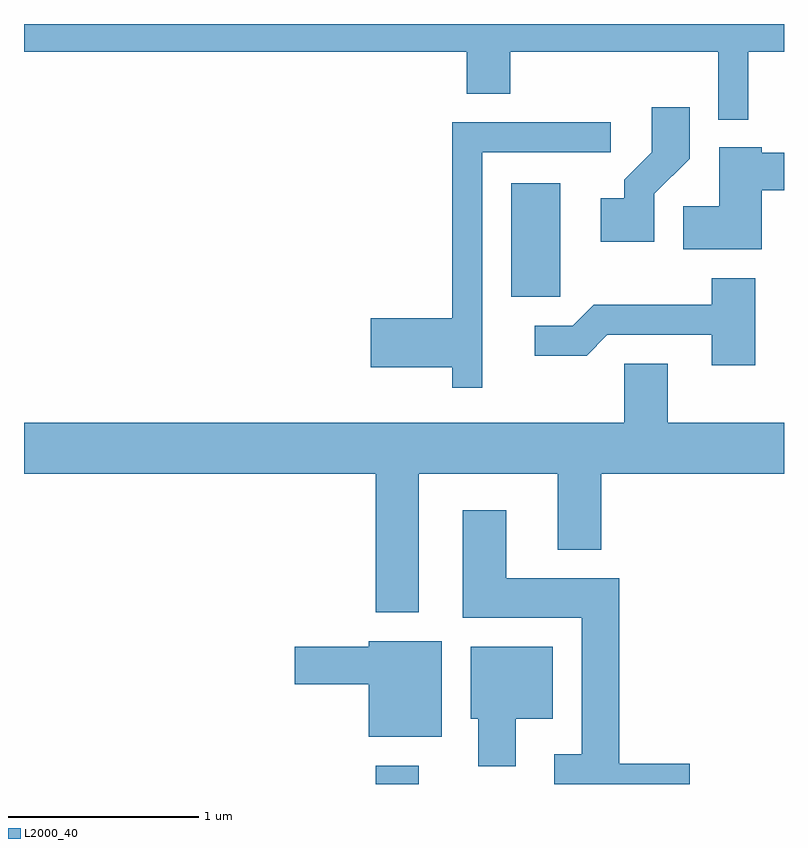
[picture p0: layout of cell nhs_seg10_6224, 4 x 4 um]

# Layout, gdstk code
import gdstk
lib = gdstk.Library(unit=1e-6, precision=1e-09)
def R(c, l, rs):  # rectangles x0, y0, x1, y1
    for r in rs: c.add(gdstk.rectangle(r[:2], r[2:], *l))
def P(c, l, *ps):  # polygons
    for p in ps: c.add(gdstk.Polygon(p, *l))
L2000_40 = (2000, 40)

nhs_seg10_6224 = lib.new_cell('nhs_seg10_6224')
R(nhs_seg10_6224, L2000_40, [(371.461,2094.522,371.689,2094.619), (372.176,2097.086,372.434,2097.684)])
P(nhs_seg10_6224, L2000_40, [(373.424,2098.376),(373.611,2098.376),(373.611,2098.522),(369.611,2098.522),(369.611,2098.376),(371.941,2098.376),(371.941,2098.156),(372.169,2098.156),(372.169,2098.376),(373.266,2098.376),(373.266,2098.018),(373.424,2098.018)],
  [(372.929,2097.629),(373.114,2097.814),(373.114,2098.084),(372.916,2098.084),(372.916,2097.847),(372.771,2097.702),(372.771,2097.604),(372.646,2097.604),(372.646,2097.376),(372.929,2097.376)],
  [(372.024,2097.846),(372.698,2097.846),(372.698,2098.004),(371.866,2098.004),(371.866,2096.974),(371.436,2096.974),(371.436,2096.716),(371.866,2096.716),(371.866,2096.608),(372.024,2096.608)],
  [(373.494,2097.646),(373.611,2097.646),(373.611,2097.844),(373.494,2097.844),(373.494,2097.874),(373.271,2097.874),(373.271,2097.564),(373.081,2097.564),(373.081,2097.336),(373.494,2097.336)],
  [(373.459,2097.184),(373.231,2097.184),(373.231,2097.044),(372.609,2097.044),(372.499,2096.934),(372.298,2096.934),(372.298,2096.776),(372.572,2096.776),(372.682,2096.886),(373.231,2096.886),(373.231,2096.726),(373.459,2096.726)],
  [(371.689,2096.156),(372.421,2096.156),(372.421,2095.756),(372.649,2095.756),(372.649,2096.156),(373.611,2096.156),(373.611,2096.424),(372.999,2096.424),(372.999,2096.734),(372.771,2096.734),(372.771,2096.424),(369.611,2096.424),(369.611,2096.156),(371.461,2096.156),(371.461,2095.426),(371.689,2095.426)],
  [(373.114,2094.629),(372.744,2094.629),(372.744,2095.604),(372.149,2095.604),(372.149,2095.964),(371.921,2095.964),(371.921,2095.396),(372.546,2095.396),(372.546,2094.679),(372.401,2094.679),(372.401,2094.522),(373.114,2094.522)],
  [(371.809,2095.274),(371.426,2095.274),(371.426,2095.244),(371.036,2095.244),(371.036,2095.046),(371.426,2095.046),(371.426,2094.771),(371.809,2094.771)],
  [(372.199,2094.866),(372.394,2094.866),(372.394,2095.244),(371.961,2095.244),(371.961,2094.866),(372.001,2094.866),(372.001,2094.616),(372.199,2094.616)])

lib.write_gds('nhs_seg10_6224.gds')
